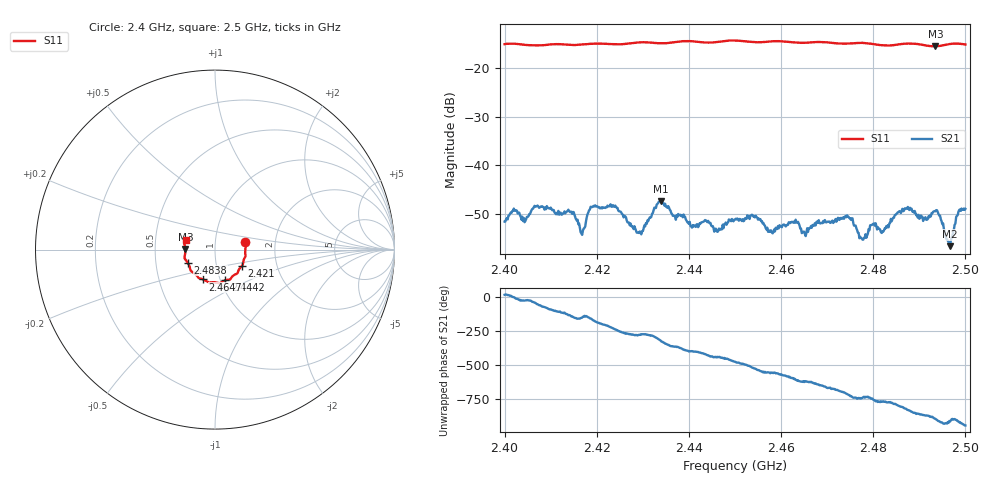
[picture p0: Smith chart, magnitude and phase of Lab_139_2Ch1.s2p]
# Hz S RI R 50
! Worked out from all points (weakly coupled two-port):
!   601 points, 2.4 GHz to 2.5 GHz, reference 50 ohm
!   highest |S21| = -47.33 dB at 2.434 GHz (marker M1); lowest = -56.5 dB at 2.4967 GHz (marker M2)
!   lowest |S11| = -15.7 dB at 2.4935 GHz (marker M3), VSWR 1.39, Z = 35.8 + j0.19 ohm
!   |S11| at or under -10 dB: start of sweep to end of sweep
!   S12 and S22 are empty: the file has one direction only
!   S11 on the Smith chart (normalised r, x): 2.4 GHz: 1.40, +0.12; 2.421 GHz: 1.33, -0.24; 2.4442 GHz: 1.05, -0.37; 2.4647 GHz: 0.83, -0.28; 2.4838 GHz: 0.73, -0.11; 2.5 GHz: 0.71, +0.08
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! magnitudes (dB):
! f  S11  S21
! 2.4 GHz  -15.2  -51.5
! 2.4077 GHz  -15.5  -48.5
! 2.4145 GHz  -15.4  -49.4
! 2.4167 GHz  -15.3  -53.9
! 2.4188 GHz  -15.1  -48.5
! 2.421 GHz  -15.1  -48.6
! 2.4292 GHz  -14.9  -53.8
! 2.4333 GHz  -15.0  -47.6
! 2.434 GHz  -15.0  -47.3
! 2.4408 GHz  -14.6  -52.2
! 2.4442 GHz  -14.9  -51.3
! 2.45 GHz  -14.5  -51.0
! 2.4647 GHz  -14.9  -53.6
! 2.4667 GHz  -14.8  -52.7
! 2.4743 GHz  -15.1  -50.2
! 2.4775 GHz  -14.9  -54.9
! 2.4833 GHz  -15.5  -52.6
! 2.4838 GHz  -15.5  -50.9
! 2.4935 GHz  -15.7  -49.4
! 2.4967 GHz  -15.2  -56.5
! 2.4985 GHz  -15.1  -49.4
! 2.5 GHz  -15.3  -48.9
